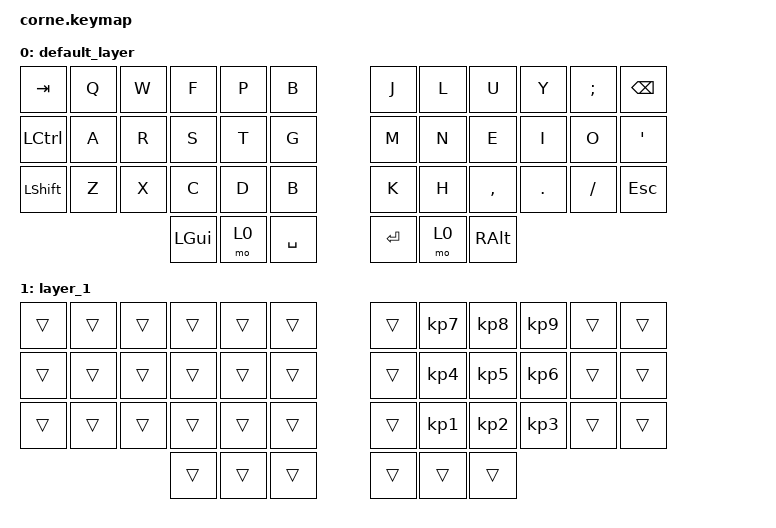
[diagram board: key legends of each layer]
/*
 * Copyright (c) 2020 The ZMK Contributors
 *
 * SPDX-License-Identifier: MIT
 */

#include <behaviors.dtsi>
#include <dt-bindings/zmk/keys.h>

/ {
    keymap {
        compatible = "zmk,keymap";

        default_layer {
            // -----------------------------------------------------------------------------------------
            // |  TAB |  Q  |  W  |  E  |  R  |  T  |   |  Y  |  U   |  I  |  O  |  P  | BKSP |
            // | CTRL |  A  |  S  |  D  |  F  |  G  |   |  H  |  J   |  K  |  L  |  ;  |  '   |
            // | SHFT |  Z  |  X  |  C  |  V  |  B  |   |  N  |  M   |  ,  |  .  |  /  | ESC  |
            //                    | GUI | LWR | SPC |   | ENT | RSE  | ALT |

            bindings = <
&kp TAB    &kp Q  &kp W  &kp F     &kp P  &kp B        &kp J    &kp L  &kp U      &kp Y    &kp SEMICOLON  &kp BSPC
&kp LCTRL  &kp A  &kp R  &kp S     &kp T  &kp G        &kp M    &kp N  &kp E      &kp I    &kp O          &kp SQT
&kp LSHFT  &kp Z  &kp X  &kp C     &kp D  &kp B        &kp K    &kp H  &kp COMMA  &kp DOT  &kp FSLH       &kp ESC
                         &kp LGUI  &mo 0  &kp SPACE    &kp RET  &mo 0  &kp RALT
            >;
        };

        layer_1 {
            bindings = <
&trans  &trans  &trans  &trans  &trans  &trans    &trans  &kp KP_NUMBER_7  &kp KP_NUMBER_8  &kp KP_NUMBER_9  &trans  &trans
&trans  &trans  &trans  &trans  &trans  &trans    &trans  &kp KP_NUMBER_4  &kp KP_NUMBER_5  &kp KP_NUMBER_6  &trans  &trans
&trans  &trans  &trans  &trans  &trans  &trans    &trans  &kp KP_NUMBER_1  &kp KP_NUMBER_2  &kp KP_NUMBER_3  &trans  &trans
                        &trans  &trans  &trans    &trans  &trans           &trans
            >;
        };
    };
};
